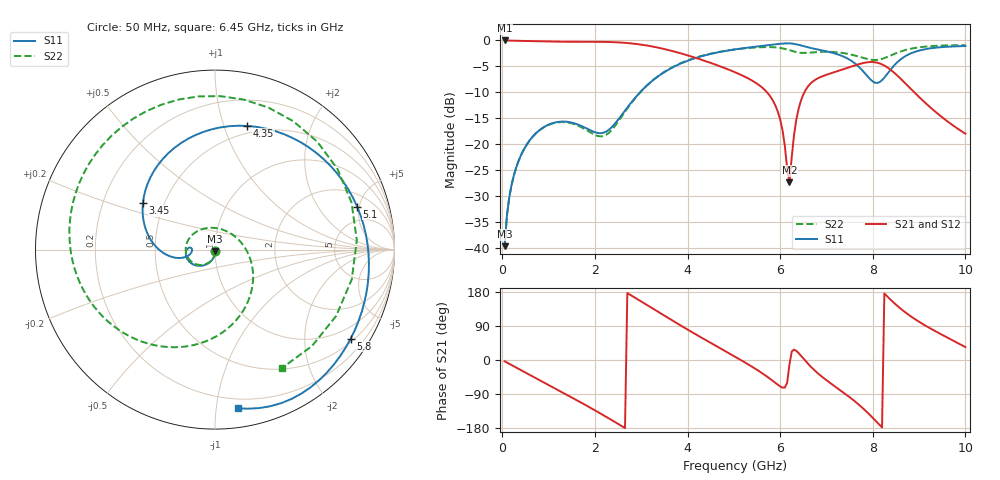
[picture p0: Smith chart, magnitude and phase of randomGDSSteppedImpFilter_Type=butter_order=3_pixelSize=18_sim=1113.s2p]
! freq	dB(S11)	phase(S11)	dB(S12)	phase(S12)
!  dB(S21)	phase(S21)	dB(S22)	phase(S22)
!S-par simulation data
#  GHz  S  DB  R 50
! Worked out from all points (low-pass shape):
!   200 points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, 50 MHz to 10 GHz, reference 50 ohm
!   highest |S21| = -0.02 dB at 50 MHz (marker M1); lowest = -27.3 dB at 6.2 GHz (marker M2)
!   |S21| within 3 dB of the highest: start of sweep to 4.049 GHz
!   lowest |S11| = -39.6 dB at 50 MHz (marker M3), VSWR 1.02, Z = 50.1 - j1.04 ohm
!   |S11| at or under -10 dB: start of sweep to 2.976 GHz
!   |S22| runs from -39.6 to -0.9 dB; largest |S21 - S12| = 0
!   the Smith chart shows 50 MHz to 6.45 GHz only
!   S11 on the Smith chart (normalised r, x): 50 MHz: 1.00, -0.02; 3.45 GHz: 0.38, +0.26; 4.35 GHz: 0.43, +1.20; 5.1 GHz: 3.14, +4.76; 5.8 GHz: 0.60, -3.25; 6.45 GHz: 0.13, -1.14
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0.05  -39.64 -82.4  -0.02 -3.4  -0.02 -3.4  -39.64 -82.6
0.2  -27.86 -97.8  -0.06 -13.4  -0.06 -13.4  -27.87 -98.5
0.55  -19.78 -123.3  -0.14 -36.5  -0.14 -36.5  -19.80 -125.7
1.15  -15.80 -159.8  -0.25 -75.7  -0.25 -75.7  -15.87 -170.0
1.75  -16.66 176.3  -0.28 -115.6  -0.28 -115.6  -16.95 133.8
2.6  -14.12 -166.3  -0.45 -175.9  -0.45 -175.9  -14.39 -9.2
3.4  -6.71 150.9  -1.48 124.2  -1.48 124.2  -6.66 -85.1
3.45  -6.41 147.1  -1.58 120.5  -1.58 120.5  -6.35 -88.7
4.35  -2.95 75.3  -3.89 55.6  -3.89 55.6  -2.88 -145.9
5.05  -1.71 20.5  -6.24 7.0  -6.24 7.0  -1.73 171.5
5.1  -1.65 16.8  -6.43 3.5  -6.43 3.5  -1.67 168.2
5.8  -0.87 -33.2  -10.98 -51.3  -10.98 -51.3  -1.31 103.4
6  -0.67 -47.6  -15.25 -69.6  -15.25 -69.6  -1.46 69.4
6.2  -0.58 -62.9  -27.34 -12.6  -27.34 -12.6  -1.89 19.1
6.45  -0.99 -81.9  -11.57 11.2  -11.57 11.2  -2.41 -60.5
6.7  -1.56 -98.2  -7.97 -22.3  -7.97 -22.3  -2.32 -122.8
7.05  -2.22 -121.8  -6.48 -57.9  -6.48 -57.9  -2.21 -172.5
7.6  -4.34 -175.5  -4.87 -107.8  -4.87 -107.8  -2.89 144.5
8  -7.92 102.8  -4.18 -152.7  -4.18 -152.7  -3.78 128.8
8.35  -6.03 2.3  -5.43 163.3  -5.43 163.3  -3.06 120.0
9  -1.97 -82.6  -10.91 100.8  -10.91 100.8  -1.35 85.1
10  -1.10 -138.2  -17.98 34.1  -17.98 34.1  -0.94 21.0
